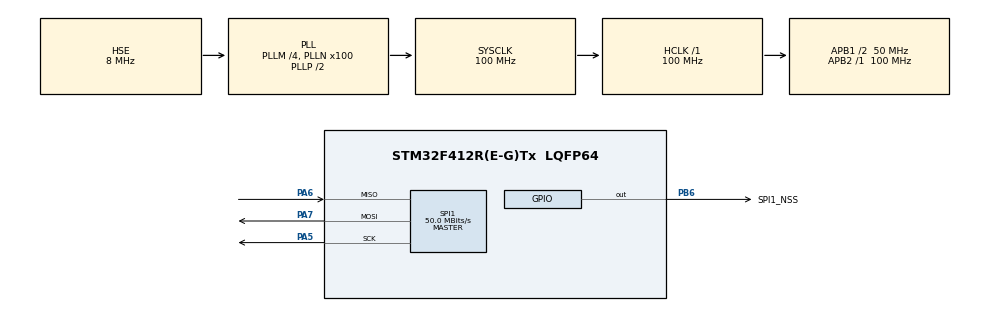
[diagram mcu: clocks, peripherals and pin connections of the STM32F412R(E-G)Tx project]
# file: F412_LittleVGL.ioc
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FREERTOS.Tasks01=defaultTask,24,128,StartDefaultTask,Default,NULL,Dynamic,NULL,NULL;guiTask,32,128,StartGuiTask,Default,NULL,Dynamic,NULL,NULL
FREERTOS.configENABLE_FPU=1
FREERTOS.configUSE_NEWLIB_REENTRANT=1
FREERTOS.configUSE_TICK_HOOK=1
Mcu.Family=STM32F4
Mcu.Name=STM32F412R(E-G)Tx
Mcu.Package=LQFP64
NVIC.PriorityGroup=NVIC_PRIORITYGROUP_4
NVIC.TIM2_IRQn=true\:15\:0\:false\:false\:true\:false\:false\:true\:true
NVIC.TimeBase=TIM2_IRQn
NVIC.TimeBaseIP=TIM2
PA13.Mode=Serial_Wire
PA13.Signal=SYS_JTMS-SWDIO
PA14.Mode=Serial_Wire
PA14.Signal=SYS_JTCK-SWCLK
PA5.Mode=Full_Duplex_Master
PA5.Signal=SPI1_SCK
PA6.Mode=Full_Duplex_Master
PA6.Signal=SPI1_MISO
PA7.Mode=Full_Duplex_Master
PA7.Signal=SPI1_MOSI
PB6.GPIO_Label=SPI1_NSS
PB6.Signal=GPIO_Output
PC14-OSC32_IN.Mode=LSE-External-Oscillator
PC14-OSC32_IN.Signal=RCC_OSC32_IN
PC15-OSC32_OUT.Mode=LSE-External-Oscillator
PC15-OSC32_OUT.Signal=RCC_OSC32_OUT
PH0\ -\ OSC_IN.Mode=HSE-External-Clock-Source
PH0\ -\ OSC_IN.Signal=RCC_OSC_IN
PH1\ -\ OSC_OUT.Mode=HSE-External-Clock-Source
PH1\ -\ OSC_OUT.Signal=RCC_OSC_OUT
ProjectManager.HeapSize=0x2000
ProjectManager.StackSize=0x2000
ProjectManager.TargetToolchain=STM32CubeIDE
RCC.AHBFreq_Value=100000000
RCC.APB1CLKDivider=RCC_HCLK_DIV2
RCC.APB1Freq_Value=50000000
RCC.APB1TimFreq_Value=100000000
RCC.APB2Freq_Value=100000000
RCC.APB2TimFreq_Value=100000000
RCC.CortexFreq_Value=100000000
RCC.HCLKFreq_Value=100000000
RCC.HSE_VALUE=8000000
RCC.PLLM=4
RCC.PLLN=100
RCC.PLLSourceVirtual=RCC_PLLSOURCE_HSE
RCC.SYSCLKFreq_VALUE=100000000
RCC.SYSCLKSource=RCC_SYSCLKSOURCE_PLLCLK
RCC.USBFreq_Value=100000000
RCC.VCOOutputFreq_Value=200000000
SPI1.CalculateBaudRate=50.0 MBits/s
SPI1.Direction=SPI_DIRECTION_2LINES
SPI1.Mode=SPI_MODE_MASTER
SPI1.VirtualType=VM_MASTER
VP_FREERTOS_VS_CMSIS_V2.Mode=CMSIS_V2
VP_LIBJPEG_VS_JPEGLIB.Mode=Enabled
VP_SYS_VS_tim2.Mode=TIM2
board=custom

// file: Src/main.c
/* USER CODE BEGIN Header */
/**
  ******************************************************************************
  * @file           : main.c
  * @brief          : Main program body
  ******************************************************************************
  * @attention
  *
  * Copyright (c) 2022 STMicroelectronics.
  * All rights reserved.
  *
  * This software is licensed under terms that can be found in the LICENSE file
  * in the root directory of this software component.
  * If no LICENSE file comes with this software, it is provided AS-IS.
  *
  ******************************************************************************
  */
/* USER CODE END Header */
#include "main.h"
#include "cmsis_os.h"
#include "libjpeg.h"
#include "spi.h"
#include "gpio.h"

/* USER CODE BEGIN Includes */
#include "lvgl.h"
#include "lv_port_disp.h"
#include "lv_demo_widgets.h"

/* USER CODE END Includes */

void SystemClock_Config(void);
void MX_FREERTOS_Init(void);
/* USER CODE BEGIN PFP */
_Noreturn void mainApp(void);
/* USER CODE END PFP */

int main(void)
{

  /* MCU Configuration--------------------------------------------------------*/

  /* Reset of all peripherals, Initializes the Flash interface and the Systick. */
  HAL_Init();

  /* Configure the system clock */
  SystemClock_Config();

  /* Initialize all configured peripherals */
  MX_GPIO_Init();
  MX_SPI1_Init();
  MX_LIBJPEG_Init();
  /* USER CODE BEGIN 2 */
  lv_init();
  lv_port_disp_init();
  lv_demo_widgets();

  /* USER CODE END 2 */

  /* Init scheduler */
  osKernelInitialize();  /* Call init function for freertos objects (in freertos.c) */
  MX_FREERTOS_Init();

  /* Start scheduler */
  osKernelStart();

  /* We should never get here as control is now taken by the scheduler */
  /* Infinite loop */
  while (1)
  {

  }
}

void SystemClock_Config(void)
{
  RCC_OscInitTypeDef RCC_OscInitStruct = {0};
  RCC_ClkInitTypeDef RCC_ClkInitStruct = {0};

  /** Configure the main internal regulator output voltage
  */
  __HAL_RCC_PWR_CLK_ENABLE();
  __HAL_PWR_VOLTAGESCALING_CONFIG(PWR_REGULATOR_VOLTAGE_SCALE1);

  /** Initializes the RCC Oscillators according to the specified parameters
  * in the RCC_OscInitTypeDef structure.
  */
  RCC_OscInitStruct.OscillatorType = RCC_OSCILLATORTYPE_HSE;
  RCC_OscInitStruct.HSEState = RCC_HSE_BYPASS;
  RCC_OscInitStruct.PLL.PLLState = RCC_PLL_ON;
  RCC_OscInitStruct.PLL.PLLSource = RCC_PLLSOURCE_HSE;
  RCC_OscInitStruct.PLL.PLLM = 4;
  RCC_OscInitStruct.PLL.PLLN = 100;
  RCC_OscInitStruct.PLL.PLLP = RCC_PLLP_DIV2;
  RCC_OscInitStruct.PLL.PLLQ = 2;
  RCC_OscInitStruct.PLL.PLLR = 2;
  if (HAL_RCC_OscConfig(&RCC_OscInitStruct) != HAL_OK)
  {
    Error_Handler();
  }

  /** Initializes the CPU, AHB and APB buses clocks
  */
  RCC_ClkInitStruct.ClockType = RCC_CLOCKTYPE_HCLK|RCC_CLOCKTYPE_SYSCLK
                              |RCC_CLOCKTYPE_PCLK1|RCC_CLOCKTYPE_PCLK2;
  RCC_ClkInitStruct.SYSCLKSource = RCC_SYSCLKSOURCE_PLLCLK;
  RCC_ClkInitStruct.AHBCLKDivider = RCC_SYSCLK_DIV1;
  RCC_ClkInitStruct.APB1CLKDivider = RCC_HCLK_DIV2;
  RCC_ClkInitStruct.APB2CLKDivider = RCC_HCLK_DIV1;

  if (HAL_RCC_ClockConfig(&RCC_ClkInitStruct, FLASH_LATENCY_3) != HAL_OK)
  {
    Error_Handler();
  }
}

void HAL_TIM_PeriodElapsedCallback(TIM_HandleTypeDef *htim)
{
  if (htim->Instance == TIM2) {
    HAL_IncTick();
  }
}

void Error_Handler(void)
{
  __disable_irq();
  while (1)
  {
  }
}

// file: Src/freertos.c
/* USER CODE BEGIN Header */
/**
  ******************************************************************************
  * File Name          : freertos.c
  * Description        : Code for freertos applications
  ******************************************************************************
  * @attention
  *
  * Copyright (c) 2022 STMicroelectronics.
  * All rights reserved.
  *
  * This software is licensed under terms that can be found in the LICENSE file
  * in the root directory of this software component.
  * If no LICENSE file comes with this software, it is provided AS-IS.
  *
  ******************************************************************************
  */
/* USER CODE END Header */

#include "FreeRTOS.h"
#include "task.h"
#include "main.h"
#include "cmsis_os.h"

/* USER CODE BEGIN Includes */
#include "lv_port_disp.h"
#include "lv_demo_widgets.h"

/* USER CODE END Includes */

/* Definitions for defaultTask */
osThreadId_t defaultTaskHandle;
const osThreadAttr_t defaultTask_attributes = {
  .name = "defaultTask",
  .stack_size = 128 * 4,
  .priority = (osPriority_t) osPriorityNormal,
};
/* Definitions for guiTask */
osThreadId_t guiTaskHandle;
const osThreadAttr_t guiTask_attributes = {
  .name = "guiTask",
  .stack_size = 128 * 4,
  .priority = (osPriority_t) osPriorityAboveNormal,
};

void StartDefaultTask(void *argument);
void StartGuiTask(void *argument);

void MX_FREERTOS_Init(void); /* (MISRA C 2004 rule 8.1) */

/* Hook prototypes */
void vApplicationTickHook(void);

/* USER CODE BEGIN 3 */
void vApplicationTickHook( void )
{
  /* This function will be called by each tick interrupt if
  configUSE_TICK_HOOK is set to 1 in FreeRTOSConfig.h. User code can be
  added here, but the tick hook is called from an interrupt context, so
  code must not attempt to block, and only the interrupt safe FreeRTOS API
  functions can be used (those that end in FromISR()). */

  // LittleVGL heart beat
  lv_tick_inc(1);
}
/* USER CODE END 3 */

void MX_FREERTOS_Init(void) {

  /* Create the thread(s) */
  /* creation of defaultTask */
  defaultTaskHandle = osThreadNew(StartDefaultTask, NULL, &defaultTask_attributes);

  /* creation of guiTask */
  guiTaskHandle = osThreadNew(StartGuiTask, NULL, &guiTask_attributes);

}

void StartDefaultTask(void *argument)
{
  /* USER CODE BEGIN StartDefaultTask */
  /* Infinite loop */
  for(;;)
  {
    osDelay(100);
  }
  /* USER CODE END StartDefaultTask */
}

void StartGuiTask(void *argument)
{
  /* USER CODE BEGIN StartGuiTask */
  TickType_t xLastWakeTime;
  const TickType_t xPeriod = pdMS_TO_TICKS(5);

  // 使用当前时间初始化变量xLastWakeTime ,注意这和vTaskDelay()函数不同
  xLastWakeTime = xTaskGetTickCount();

  for(;;)
  {
    vTaskDelayUntil( &xLastWakeTime,xPeriod );
    lv_task_handler();
  }

  vTaskDelete(NULL);
  /* USER CODE END StartGuiTask */
}
